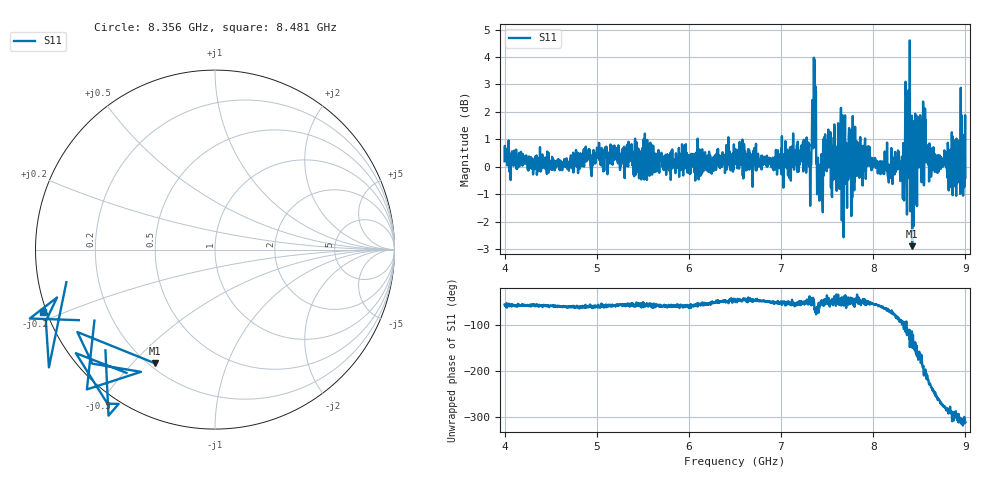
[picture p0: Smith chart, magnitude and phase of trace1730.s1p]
! Created with skrf 1.8.0 (http://scikit-rf.org).
# Hz S RI R 50.0
!freq ReS11 ImS11
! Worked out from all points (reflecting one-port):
!   1601 points, 4 GHz to 9 GHz, reference 50 ohm
!   lowest |S11| = -2.9 dB at 8.422 GHz (marker M1), VSWR 6.05, Z = 11.1 - j29 ohm
!   phase of S11 starts at -56 deg and turns -255 deg over the sweep
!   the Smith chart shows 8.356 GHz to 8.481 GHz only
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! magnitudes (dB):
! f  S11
! 4 GHz  0.2
! 4.625 GHz  -0.1
! 5.25 GHz  0.0
! 5.875 GHz  0.1
! 6.5 GHz  0.1
! 7.125 GHz  0.5
! 7.306 GHz  0.2
! 7.328 GHz  0.3
! 7.353 GHz  2.3
! 7.378 GHz  2.8
! 7.4 GHz  0.3
! 7.428 GHz  0.1
! 7.512 GHz  1.4
! 7.669 GHz  1.8
! 7.703 GHz  0.0
! 7.75 GHz  0.0
! 8.184 GHz  -0.4
! 8.259 GHz  0.3
! 8.316 GHz  0.2
! 8.334 GHz  -1.2
! 8.375 GHz  1.3
! 8.412 GHz  -0.3
! 8.422 GHz  -2.9
! 8.544 GHz  2.1
! 8.622 GHz  0.3
! 8.9 GHz  -1.1
! 8.972 GHz  0.9
! 9 GHz  -0.4
